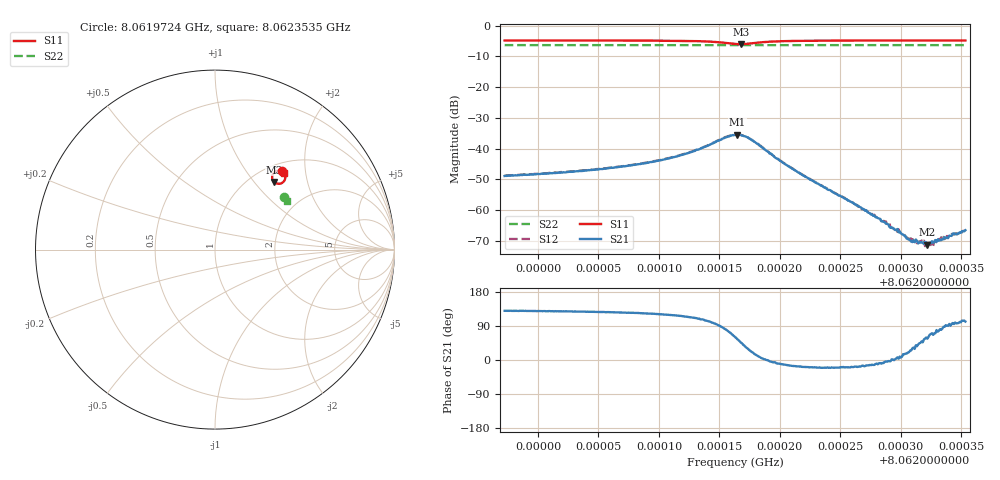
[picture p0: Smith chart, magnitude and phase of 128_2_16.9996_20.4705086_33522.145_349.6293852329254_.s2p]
#  HZ  S  RI  R  50.00
! Rohde & Schwarz Vector Network Analyzer
! Rohde-Schwarz,ZNB20-2Port,1311601062101988,3.16
! Created: UTC 3/20/2024, 10:57:49 PM
! freq[Hz]  re:S11  im:S11  re:S21  im:S21  re:S12  im:S12  re:S22  im:S22
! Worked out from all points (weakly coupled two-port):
!   401 points, 8.0619724 GHz to 8.0623535 GHz, reference 50 ohm
!   highest |S21| = -35.42 dB at 8.0621649 GHz (marker M1); lowest = -71.3 dB at 8.0623221 GHz (marker M2)
!   lowest |S11| = -6.0 dB at 8.0621677 GHz (marker M3), VSWR 3.00, Z = 63.3 + j63.7 ohm
!   |S11| at or under -10 dB: nowhere
!   |S22| runs from -6.4 to -6.3 dB; largest |S21 - S12| = 0.0013
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8.06197242e9  0.3746 0.437  -0.0023 0.00276  -0.00215 0.00291  0.3864 0.2908
8.06203625e9  0.3805 0.4314  -0.00268 0.00344  -0.00246 0.00367  0.3886 0.2874
8.06207245e9  0.3844 0.4262  -0.00298 0.00426  -0.00274 0.00449  0.3898 0.2856
8.06210008e9  0.3882 0.4195  -0.0033 0.0055  -0.00298 0.00574  0.3908 0.284
8.06212771e9  0.3918 0.4055  -0.00335 0.00827  -0.00287 0.00861  0.3916 0.2822
8.06215438e9  0.3733 0.3714  0.00194 0.0149  0.00301 0.0149  0.3911 0.2795
8.06216296e9  0.3455 0.3679  0.00807 0.0145  0.0092 0.0142  0.3901 0.2796
8.06216486e9  0.3385 0.3706  0.00972 0.0139  0.0106 0.0133  0.3899 0.2797
8.06216772e9  0.3293 0.377  0.0115 0.0121  0.0123 0.0115  0.3896 0.2801
8.0621782e9  0.3195 0.4118  0.0126 0.00422  0.0128 0.00341  0.3901 0.2811
8.06220201e9  0.3476 0.4392  0.00588 -0.00118  0.00589 -0.00156  0.3926 0.2808
8.06222678e9  0.363 0.4392  0.00285 -0.000997  0.00282 -0.00119  0.394 0.2794
8.0622668e9  0.3738 0.4354  0.00106 -0.000332  0.00107 -0.000394  0.3957 0.2771
8.06229061e9  0.3774 0.4333  0.000536 -2.92e-05  0.000603 -6.99e-05  0.3964 0.2759
8.06229823e9  0.3785 0.4328  0.000435 2.54e-05  0.000489 9.79e-06  0.397 0.2756
8.06230776e9  0.3796 0.4319  0.000294 0.000136  0.00036 0.000123  0.3971 0.275
8.06231252e9  0.3802 0.4316  0.000258 0.000208  0.000259 0.000152  0.3972 0.2748
8.06231729e9  0.3806 0.4312  0.000195 0.000227  0.000231 0.000223  0.3974 0.2746
8.06232205e9  0.3812 0.431  0.000152 0.000226  0.000172 0.000218  0.3974 0.2744
8.06232872e9  0.3819 0.4304  0.000108 0.00031  0.000116 0.000301  0.3978 0.2739
8.06233348e9  0.3824 0.4301  5.88e-05 0.000318  4.75e-05 0.00036  0.398 0.2738
8.06235349e9  0.3843 0.4287  -9.4e-05 0.000461  -6.22e-05 0.000457  0.3987 0.2727
